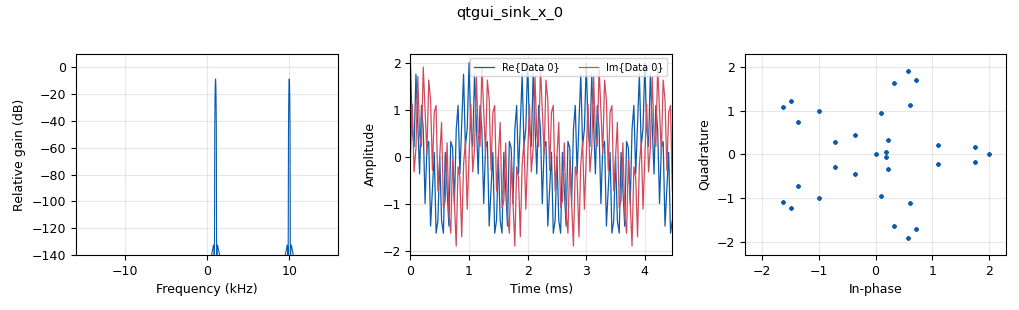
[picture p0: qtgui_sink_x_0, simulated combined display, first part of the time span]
options:
  parameters:
    generate_options: qt_gui
    id: exercise_1_1
    output_language: python
    title: Exercise 1.1
  states: {}

blocks:
- name: samp_rate
  id: variable_qtgui_range
  parameters:
    orient: Qt.Horizontal
    start: '0'
    step: '1'
    stop: '64000'
    value: '32000'
  states: {}
- name: variable_frequency
  id: variable_qtgui_range
  parameters:
    orient: Qt.Horizontal
    start: '0'
    step: '1'
    stop: '128000'
    value: '10000'
  states: {}
- name: analog_sig_source_x_0
  id: analog_sig_source_x
  parameters:
    amp: '1'
    freq: variable_frequency
    offset: '0'
    phase: '0'
    samp_rate: samp_rate
    type: complex
    waveform: analog.GR_COS_WAVE
  states: {}
- name: analog_sig_source_x_1
  id: analog_sig_source_x
  parameters:
    amp: '1'
    freq: '1000'
    offset: '0'
    phase: '0'
    samp_rate: samp_rate
    type: complex
    waveform: analog.GR_COS_WAVE
  states: {}
- name: blocks_add_xx_0
  id: blocks_add_xx
  parameters:
    type: complex
  states: {}
- name: blocks_throttle_0
  id: blocks_throttle
  parameters:
    samples_per_second: samp_rate
    type: complex
  states: {}
- name: qtgui_sink_x_0
  id: qtgui_sink_x
  parameters:
    bw: samp_rate
    fc: '0'
    fftsize: '1024'
    type: complex
    wintype: firdes.WIN_BLACKMAN_hARRIS
  states: {}

connections:
- [analog_sig_source_x_0, '0', blocks_throttle_0, '0']
- [analog_sig_source_x_1, '0', blocks_add_xx_0, '1']
- [blocks_add_xx_0, '0', qtgui_sink_x_0, '0']
- [blocks_throttle_0, '0', blocks_add_xx_0, '0']

metadata:
  file_format: 1
